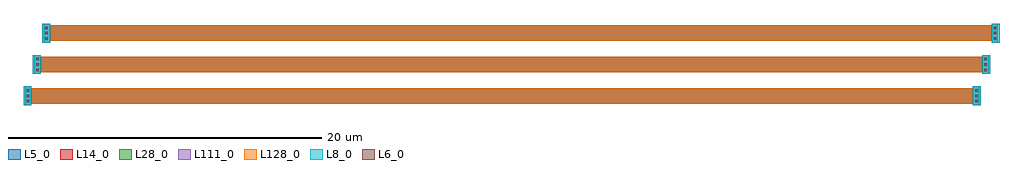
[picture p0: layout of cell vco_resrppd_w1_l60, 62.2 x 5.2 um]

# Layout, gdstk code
import gdstk
lib = gdstk.Library(unit=1e-6, precision=1e-09)
def R(c, l, rs):  # rectangles x0, y0, x1, y1
    for r in rs: c.add(gdstk.rectangle(r[:2], r[2:], *l))
def A(c, l, x, y, w, h, nx, ny, dx, dy):  # array of equal rectangles
    R(c, l, [(x+i*dx, y+j*dy, x+i*dx+w, y+j*dy+h) for i in range(nx) for j in range(ny)])
L5_0 = (5, 0)
L6_0 = (6, 0)
L8_0 = (8, 0)
L14_0 = (14, 0)
L28_0 = (28, 0)
L111_0 = (111, 0)
L128_0 = (128, 0)

vco_resrppd_w1_l60 = lib.new_cell('vco_resrppd_w1_l60')
R(vco_resrppd_w1_l60, L5_0, [(0.1,0.1,0.5,1.3), (60.5,0.1,60.9,1.3), (0.5,0.2,60.5,1.2), (0.7,2.1,1.1,3.3), (61.1,2.1,61.5,3.3), (1.1,2.2,61.1,3.2), (1.3,4.1,1.7,5.3), (61.7,4.1,62.1,5.3), (1.7,4.2,61.7,5.2)])
A(vco_resrppd_w1_l60, L6_0, 0.2, 0.28, 0.16, 0.16, 1, 3, 0, 0.34)
A(vco_resrppd_w1_l60, L6_0, 60.64, 0.28, 0.16, 0.16, 1, 3, 0, 0.34)
A(vco_resrppd_w1_l60, L6_0, 0.8, 2.28, 0.16, 0.16, 1, 3, 0, 0.34)
A(vco_resrppd_w1_l60, L6_0, 61.24, 2.28, 0.16, 0.16, 1, 3, 0, 0.34)
A(vco_resrppd_w1_l60, L6_0, 1.4, 4.28, 0.16, 0.16, 1, 3, 0, 0.34)
A(vco_resrppd_w1_l60, L6_0, 61.84, 4.28, 0.16, 0.16, 1, 3, 0, 0.34)
R(vco_resrppd_w1_l60, L8_0, [(0,0.1,0.5,1.3), (60.5,0.1,61,1.3), (0.6,2.1,1.1,3.3), (61.1,2.1,61.6,3.3), (1.2,4.1,1.7,5.3), (61.7,4.1,62.2,5.3)])
R(vco_resrppd_w1_l60, L14_0, [(0.5,0.2,60.5,1.2), (1.1,2.2,61.1,3.2), (1.7,4.2,61.7,5.2)])
R(vco_resrppd_w1_l60, L28_0, [(0.5,0.2,60.5,1.2), (1.1,2.2,61.1,3.2), (1.7,4.2,61.7,5.2)])
R(vco_resrppd_w1_l60, L111_0, [(0.5,0.2,60.5,1.2), (1.1,2.2,61.1,3.2), (1.7,4.2,61.7,5.2)])
R(vco_resrppd_w1_l60, L128_0, [(0.5,0.2,60.5,1.2), (1.1,2.2,61.1,3.2), (1.7,4.2,61.7,5.2)])

lib.write_gds('vco_resrppd_w1_l60.gds')
